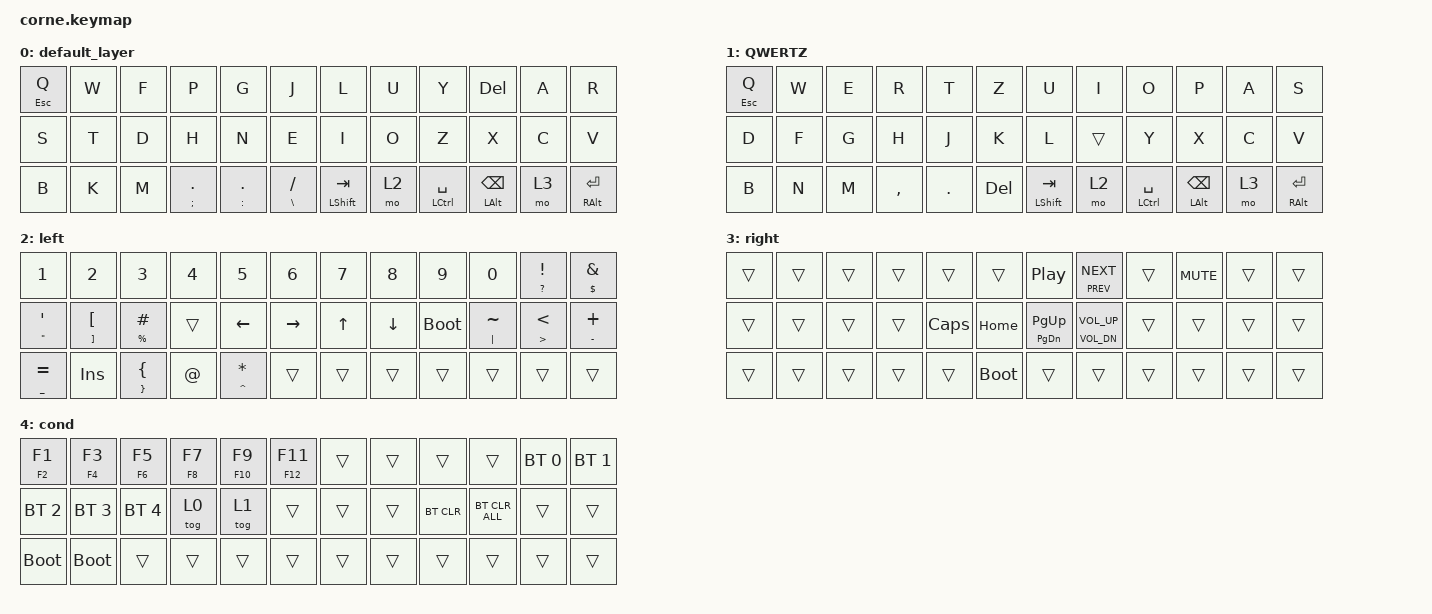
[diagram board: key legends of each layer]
/*
 * Copyright (c) 2020 The ZMK Contributors
 *
 * SPDX-License-Identifier: MIT
 */

#include <behaviors.dtsi>
#include <dt-bindings/zmk/bt.h>
#include <dt-bindings/zmk/keys.h>

/ {
    chosen { zmk,matrix-transform = &five_column_transform; };
};

/ {
    combos { compatible = "zmk,combos"; };

    keymap {
        compatible = "zmk,keymap";

        default_layer {
            // -----------------------------------------------------------------------------------------
            // |  TAB |  Q  |  W  |  E  |  R  |  T  |   |  Y  |  U   |  I  |  O  |  P  | BKSP |
            // | CTRL |  A  |  S  |  D  |  F  |  G  |   |  H  |  J   |  K  |  L  |  ;  |  '   |
            // | SHFT |  Z  |  X  |  C  |  V  |  B  |   |  N  |  M   |  ,  |  .  |  /  | ESC  |
            //                    | GUI | LWR | SPC |   | ENT | RSE  | ALT |

            bindings = <
&mt ESC Q  &kp W  &kp F  &kp P                 &kp G             &kp J                  &kp L               &kp U  &kp Y                   &kp DELETE              &kp A  &kp R
&kp S      &kp T  &kp D  &kp H                 &kp N             &kp E                  &kp I               &kp O  &kp Z                   &kp X                   &kp C  &kp V
&kp B      &kp K  &kp M  &mt SEMICOLON PERIOD  &mt COLON PERIOD  &mt BACKSLASH SLASH    &mt LEFT_SHIFT TAB  &mo 2  &mt LEFT_CONTROL SPACE  &mt LEFT_ALT BACKSPACE  &mo 3  &mt RIGHT_ALT ENTER
            >;
        };

        QWERTZ {
            bindings = <
&mt ESCAPE Q  &kp W  &kp E  &kp R      &kp T    &kp Z         &kp U               &kp I   &kp O                   &kp P                   &kp A  &kp S
&kp D         &kp F  &kp G  &kp H      &kp J    &kp K         &kp L               &trans  &kp Y                   &kp X                   &kp C  &kp V
&kp B         &kp N  &kp M  &kp COMMA  &kp DOT  &kp DELETE    &mt LEFT_SHIFT TAB  &mo 2   &mt LEFT_CONTROL SPACE  &mt LEFT_ALT BACKSPACE  &mo 3  &mt RIGHT_ALT ENTER
            >;
        };

        left {
            // -----------------------------------------------------------------------------------------
            // |  TAB |  1  |  2  |  3  |  4  |  5  |   |  6  |  7  |  8  |  9  |  0  | BKSP |
            // | BTCLR| BT1 | BT2 | BT3 | BT4 | BT5 |   | LFT | DWN |  UP | RGT |     |      |
            // | SHFT |     |     |     |     |     |   |     |     |     |     |     |      |
            //                    | GUI |     | SPC |   | ENT |     | ALT |

            bindings = <
&kp N1                 &kp N2                          &kp N3                      &kp N4       &kp N5              &kp N6       &kp N7  &kp N8    &kp N9       &kp N0          &mt QUESTION EXCLAMATION    &mt DOLLAR AMPERSAND
&mt DOUBLE_QUOTES SQT  &mt RIGHT_BRACKET LEFT_BRACKET  &mt PERCENT HASH            &trans       &kp LEFT            &kp RIGHT    &kp UP  &kp DOWN  &bootloader  &mt PIPE TILDE  &mt GREATER_THAN LESS_THAN  &mt MINUS PLUS
&mt UNDERSCORE EQUAL   &kp INSERT                      &mt RIGHT_BRACE LEFT_BRACE  &kp AT_SIGN  &mt CARET ASTERISK  &trans       &trans  &trans    &trans       &trans          &trans                      &trans
            >;
        };

        right {
            bindings = <
&trans  &trans  &trans  &trans  &trans        &trans         &kp C_PLAY_PAUSE       &mt C_PREV C_NEXT      &trans  &kp C_MUTE  &trans  &trans
&trans  &trans  &trans  &trans  &kp CAPSLOCK  &kp HOME       &mt PAGE_DOWN PAGE_UP  &mt C_VOL_DN C_VOL_UP  &trans  &trans      &trans  &trans
&trans  &trans  &trans  &trans  &trans        &bootloader    &trans                 &trans                 &trans  &trans      &trans  &trans
            >;
        };

        cond {
            bindings = <
&mt F2 F1     &mt F4 F3     &mt F6 F5     &mt F8 F7  &mt F10 F9  &mt F12 F11    &trans  &trans  &trans      &trans          &bt BT_SEL 0  &bt BT_SEL 1
&bt BT_SEL 2  &bt BT_SEL 3  &bt BT_SEL 4  &tog 0     &tog 1      &trans         &trans  &trans  &bt BT_CLR  &bt BT_CLR_ALL  &trans        &trans
&bootloader   &bootloader   &trans        &trans     &trans      &trans         &trans  &trans  &trans      &trans          &trans        &trans
            >;
        };
    };

    conditional_layers {
        compatible = "zmk,conditional-layers";

        Cond {
            if-layers = <2 3>;
            then-layer = <4>;
        };
    };
};
